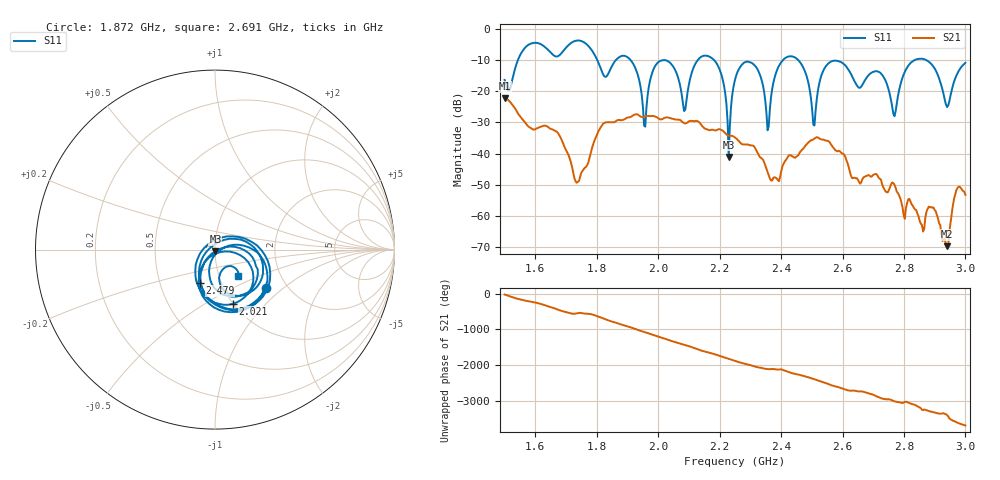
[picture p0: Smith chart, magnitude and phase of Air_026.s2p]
# HZ S RI R 50
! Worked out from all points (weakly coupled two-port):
!   404 points, 1.5 GHz to 3 GHz, reference 50 ohm
!   highest |S21| = -22.22 dB at 1.5 GHz (marker M1); lowest = -69.8 dB at 2.94 GHz (marker M2)
!   lowest |S11| = -41.1 dB at 2.23 GHz (marker M3), VSWR 1.02, Z = 50.2 - j0.858 ohm
!   |S11| at or under -10 dB: 2.182 GHz to 2.406 GHz (223.2 MHz wide, 9.73 % of centre); 2.456 GHz to 2.834 GHz (377.3 MHz wide, 14.3 % of centre); 2.874 GHz to end of sweep (the widest 3 of 7)
!   S12 and S22 are empty: the file has one direction only
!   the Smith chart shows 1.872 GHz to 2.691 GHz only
!   S11 on the Smith chart (normalised r, x): 1.872 GHz: 1.57, -0.76; 2.021 GHz: 1.00, -0.67; 2.479 GHz: 0.79, -0.31; 2.691 GHz: 1.24, -0.37
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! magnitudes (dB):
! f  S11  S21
! 1.5 GHz  -16.3  -22.2
! 1.753 GHz  -3.9  -45.6
! 1.872 GHz  -9.0  -29.2
! 1.954 GHz  -31.0  -28.2
! 2.002 GHz  -10.4  -28.8
! 2.021 GHz  -9.9  -28.5
! 2.084 GHz  -26.3  -30.2
! 2.181 GHz  -9.9  -32.4
! 2.23 GHz  -41.1  -34.2
! 2.252 GHz  -15.6  -35.0
! 2.315 GHz  -11.8  -38.2
! 2.356 GHz  -32.5  -45.8
! 2.404 GHz  -10.1  -44.1
! 2.479 GHz  -13.9  -37.5
! 2.501 GHz  -26.0  -35.6
! 2.561 GHz  -10.5  -36.8
! 2.691 GHz  -14.2  -47.4
! 2.751 GHz  -19.6  -51.8
! 2.862 GHz  -9.6  -65.1
! 2.94 GHz  -25.0  -69.8
! 2.97 GHz  -15.0  -51.9
! 3 GHz  -10.8  -53.3
